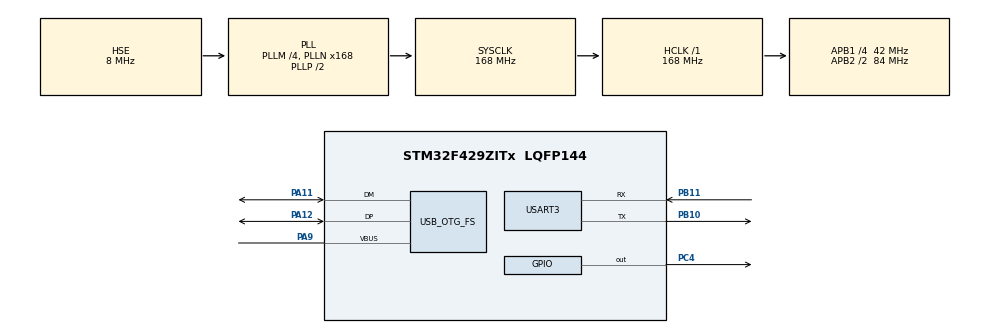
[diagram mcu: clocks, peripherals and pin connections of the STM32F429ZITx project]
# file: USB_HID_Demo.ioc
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FREERTOS.Tasks01=defaultTask,0,2048,StartDefaultTask,Default,NULL,Dynamic,NULL,NULL
Mcu.Family=STM32F4
Mcu.Name=STM32F429ZITx
Mcu.Package=LQFP144
NVIC.OTG_FS_IRQn=true\:0\:0\:false\:false\:true\:true\:false\:true
NVIC.PriorityGroup=NVIC_PRIORITYGROUP_4
NVIC.TIM6_DAC_IRQn=true\:0\:0\:false\:false\:true\:false\:false\:true
NVIC.TimeBase=TIM6_DAC_IRQn
NVIC.TimeBaseIP=TIM6
NVIC.USART3_IRQn=true\:0\:0\:false\:false\:true\:true\:true\:true
PA11.Mode=Host_Only
PA11.Signal=USB_OTG_FS_DM
PA12.Mode=Host_Only
PA12.Signal=USB_OTG_FS_DP
PA13.Mode=Serial_Wire
PA13.Signal=SYS_JTMS-SWDIO
PA14.Mode=Serial_Wire
PA14.Signal=SYS_JTCK-SWCLK
PA9.Mode=Activate_VBUS
PA9.Signal=USB_OTG_FS_VBUS
PB10.Mode=Asynchronous
PB10.Signal=USART3_TX
PB11.Mode=Asynchronous
PB11.Signal=USART3_RX
PC4.Signal=GPIO_Output
PH0/OSC_IN.Mode=HSE-External-Oscillator
PH0/OSC_IN.Signal=RCC_OSC_IN
PH1/OSC_OUT.Mode=HSE-External-Oscillator
PH1/OSC_OUT.Signal=RCC_OSC_OUT
ProjectManager.HeapSize=0x200
ProjectManager.StackSize=0x400
ProjectManager.TargetToolchain=STM32CubeIDE
RCC.48MHZClocksFreq_Value=48000000
RCC.AHBFreq_Value=168000000
RCC.APB1CLKDivider=RCC_HCLK_DIV4
RCC.APB1Freq_Value=42000000
RCC.APB1TimFreq_Value=84000000
RCC.APB2CLKDivider=RCC_HCLK_DIV2
RCC.APB2Freq_Value=84000000
RCC.APB2TimFreq_Value=168000000
RCC.CortexFreq_Value=168000000
RCC.HCLKFreq_Value=168000000
RCC.HSE_VALUE=8000000
RCC.HSI_VALUE=16000000
RCC.LSE_VALUE=32768
RCC.PLLM=4
RCC.PLLN=168
RCC.PLLQ=7
RCC.PLLSAIN=50
RCC.SYSCLKFreq_VALUE=168000000
RCC.SYSCLKSource=RCC_SYSCLKSOURCE_PLLCLK
RCC.VCOOutputFreq_Value=336000000
USART3.VirtualMode=VM_ASYNC
USB_HOST.BSP.number=1
USB_HOST.USBH_HandleTypeDef-HID_FS=hUsbHostFS
USB_HOST.VirtualModeFS=Hid
USB_HOST0.BSP.STBoard=false
USB_HOST0.BSP.api=Unknown
USB_HOST0.BSP.i2caddr=0
USB_HOST0.BSP.instance=PC4
USB_HOST0.BSP.ip=GPIO
USB_HOST0.BSP.mode=Output
USB_HOST0.BSP.name=Drive_VBUS_FS
USB_HOST0.BSP.solution=PC4
USB_OTG_FS.VirtualMode=Host_Only
USB_OTG_FS.phy_itface=HCD_PHY_EMBEDDED
VP_FREERTOS_VS_CMSIS_V1.Mode=CMSIS_V1
VP_SYS_VS_tim6.Mode=TIM6
VP_USB_HOST_VS_USB_HOST_HID_FS.Mode=HID_FS
board=STM32F429I-DISC1

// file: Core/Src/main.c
/* USER CODE BEGIN Header */
/**
  ******************************************************************************
  * @file           : main.c
  * @brief          : Main program body
  ******************************************************************************
  * @attention
  *
  * <h2><center>&copy; Copyright (c) 2020 STMicroelectronics.
  * All rights reserved.</center></h2>
  *
  * This software component is licensed by ST under Ultimate Liberty license
  * SLA0044, the "License"; You may not use this file except in compliance with
  * the License. You may obtain a copy of the License at:
  *                             www.st.com/SLA0044
  *
  ******************************************************************************
  */
/* USER CODE END Header */
#include "main.h"
#include "cmsis_os.h"
#include "usb_host.h"

/* USER CODE BEGIN Includes */
#include "usbh_hid.h"
/* USER CODE END Includes */

UART_HandleTypeDef huart3;

osThreadId defaultTaskHandle;

void SystemClock_Config(void);
static void MX_GPIO_Init(void);
static void MX_USART3_UART_Init(void);
void StartDefaultTask(void const * argument);

/* USER CODE BEGIN PFP */
char Uart_Buff[100];
char Char_Buff[100];
/* USER CODE END PFP */

/* USER CODE BEGIN 0 */
void USBH_HID_EventCallback(USBH_HandleTypeDef *phost)
{
	static int i=0;
	if (USBH_HID_GetDeviceType(phost) == HID_KEYBOARD) {

		HID_KEYBD_Info_TypeDef *Keybord_Info;
		Keybord_Info = USBH_HID_GetKeybdInfo(phost);
//		int keys = Keybord_Info->keys;
//		int lctrl = Keybord_Info->lctrl;
//		int lalt = Keybord_Info->lalt;
		char key = USBH_HID_GetASCIICode(Keybord_Info);

		//sprintf hem karakterleri birleştirir hem de bize kaç karakter uzulukta olduğunu geri döndürür.
		int len = sprintf(Uart_Buff,"Key Pressed= %d,",key);

		Char_Buff[i] += key;
		i++;
		if (i ==100) {
			i=0;
		}
		HAL_UART_Transmit(&huart3, (uint8_t*)Uart_Buff, len, 1000);
		HAL_UART_Transmit(&huart3, (uint8_t*)Char_Buff, sizeof(Char_Buff),1000);
	}
}
/* USER CODE END 0 */

int main(void)
{

  /* MCU Configuration--------------------------------------------------------*/

  /* Reset of all peripherals, Initializes the Flash interface and the Systick. */
  HAL_Init();

  /* Configure the system clock */
  SystemClock_Config();

  /* Initialize all configured peripherals */
  MX_GPIO_Init();
  MX_USART3_UART_Init();

  /* Create the thread(s) */
  /* definition and creation of defaultTask */
  osThreadDef(defaultTask, StartDefaultTask, osPriorityNormal, 0, 2048);
  defaultTaskHandle = osThreadCreate(osThread(defaultTask), NULL);

  /* Start scheduler */
  osKernelStart();

  /* We should never get here as control is now taken by the scheduler */
  /* Infinite loop */
  while (1)
  {

  }
}

void SystemClock_Config(void)
{
  RCC_OscInitTypeDef RCC_OscInitStruct = {0};
  RCC_ClkInitTypeDef RCC_ClkInitStruct = {0};

  /** Configure the main internal regulator output voltage
  */
  __HAL_RCC_PWR_CLK_ENABLE();
  __HAL_PWR_VOLTAGESCALING_CONFIG(PWR_REGULATOR_VOLTAGE_SCALE1);
  /** Initializes the RCC Oscillators according to the specified parameters
  * in the RCC_OscInitTypeDef structure.
  */
  RCC_OscInitStruct.OscillatorType = RCC_OSCILLATORTYPE_HSE;
  RCC_OscInitStruct.HSEState = RCC_HSE_ON;
  RCC_OscInitStruct.PLL.PLLState = RCC_PLL_ON;
  RCC_OscInitStruct.PLL.PLLSource = RCC_PLLSOURCE_HSE;
  RCC_OscInitStruct.PLL.PLLM = 4;
  RCC_OscInitStruct.PLL.PLLN = 168;
  RCC_OscInitStruct.PLL.PLLP = RCC_PLLP_DIV2;
  RCC_OscInitStruct.PLL.PLLQ = 7;
  if (HAL_RCC_OscConfig(&RCC_OscInitStruct) != HAL_OK)
  {
    Error_Handler();
  }
  /** Initializes the CPU, AHB and APB buses clocks
  */
  RCC_ClkInitStruct.ClockType = RCC_CLOCKTYPE_HCLK|RCC_CLOCKTYPE_SYSCLK
                              |RCC_CLOCKTYPE_PCLK1|RCC_CLOCKTYPE_PCLK2;
  RCC_ClkInitStruct.SYSCLKSource = RCC_SYSCLKSOURCE_PLLCLK;
  RCC_ClkInitStruct.AHBCLKDivider = RCC_SYSCLK_DIV1;
  RCC_ClkInitStruct.APB1CLKDivider = RCC_HCLK_DIV4;
  RCC_ClkInitStruct.APB2CLKDivider = RCC_HCLK_DIV2;

  if (HAL_RCC_ClockConfig(&RCC_ClkInitStruct, FLASH_LATENCY_5) != HAL_OK)
  {
    Error_Handler();
  }
}

static void MX_USART3_UART_Init(void)
{

  huart3.Instance = USART3;
  huart3.Init.BaudRate = 115200;
  huart3.Init.WordLength = UART_WORDLENGTH_8B;
  huart3.Init.StopBits = UART_STOPBITS_1;
  huart3.Init.Parity = UART_PARITY_NONE;
  huart3.Init.Mode = UART_MODE_TX_RX;
  huart3.Init.HwFlowCtl = UART_HWCONTROL_NONE;
  huart3.Init.OverSampling = UART_OVERSAMPLING_16;
  if (HAL_UART_Init(&huart3) != HAL_OK)
  {
    Error_Handler();
  }

}

static void MX_GPIO_Init(void)
{
  GPIO_InitTypeDef GPIO_InitStruct = {0};

  /* GPIO Ports Clock Enable */
  __HAL_RCC_GPIOH_CLK_ENABLE();
  __HAL_RCC_GPIOC_CLK_ENABLE();
  __HAL_RCC_GPIOB_CLK_ENABLE();
  __HAL_RCC_GPIOA_CLK_ENABLE();

  /*Configure GPIO pin Output Level */
  HAL_GPIO_WritePin(GPIOC, GPIO_PIN_4, GPIO_PIN_RESET);

  /*Configure GPIO pin : PC4 */
  GPIO_InitStruct.Pin = GPIO_PIN_4;
  GPIO_InitStruct.Mode = GPIO_MODE_OUTPUT_PP;
  GPIO_InitStruct.Pull = GPIO_NOPULL;
  GPIO_InitStruct.Speed = GPIO_SPEED_FREQ_LOW;
  HAL_GPIO_Init(GPIOC, &GPIO_InitStruct);

}

void StartDefaultTask(void const * argument)
{
  /* init code for USB_HOST */
  MX_USB_HOST_Init();
  for(;;)
  {
    osDelay(1);
  }
}

void HAL_TIM_PeriodElapsedCallback(TIM_HandleTypeDef *htim)
{
  if (htim->Instance == TIM6) {
    HAL_IncTick();
  }
}

void Error_Handler(void)
{
}

/************************ (C) COPYRIGHT STMicroelectronics *****END OF FILE****/
